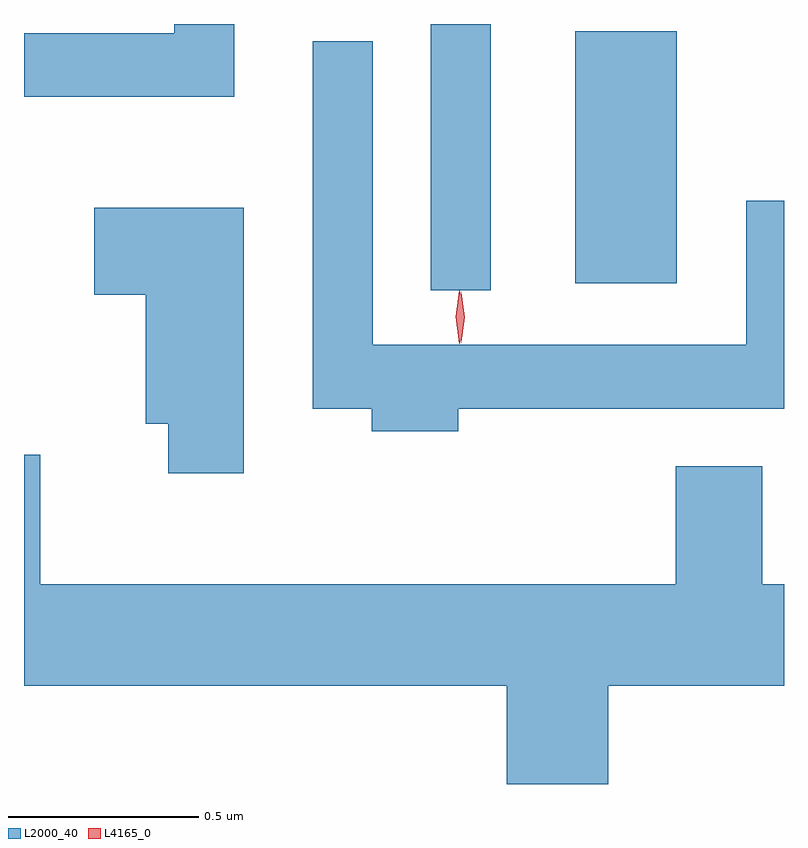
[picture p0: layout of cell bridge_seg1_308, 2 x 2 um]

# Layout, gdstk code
import gdstk
lib = gdstk.Library(unit=1e-6, precision=1e-09)
def R(c, l, rs):  # rectangles x0, y0, x1, y1
    for r in rs: c.add(gdstk.rectangle(r[:2], r[2:], *l))
def P(c, l, *ps):  # polygons
    for p in ps: c.add(gdstk.Polygon(p, *l))
L2000_40 = (2000, 40)
L4165_0 = (4165, 0)

bridge_seg1_308 = lib.new_cell('bridge_seg1_308')
R(bridge_seg1_308, L2000_40, [(874.216,887.298,874.374,887.998), (874.596,887.316,874.864,887.979)])
P(bridge_seg1_308, L2000_40, [(873.699,887.998),(873.541,887.998),(873.541,887.974),(873.146,887.974),(873.146,887.806),(873.699,887.806)],
  [(874.289,886.986),(875.146,886.986),(875.146,887.533),(875.046,887.533),(875.046,887.154),(874.064,887.154),(874.064,887.953),(873.906,887.953),(873.906,886.986),(874.061,886.986),(874.061,886.926),(874.289,886.926)],
  [(873.724,887.514),(873.331,887.514),(873.331,887.286),(873.466,887.286),(873.466,886.946),(873.526,886.946),(873.526,886.816),(873.724,886.816)],
  [(874.684,886.256),(875.146,886.256),(875.146,886.524),(875.089,886.524),(875.089,886.834),(874.861,886.834),(874.861,886.524),(873.189,886.524),(873.189,886.864),(873.146,886.864),(873.146,886.256),(874.416,886.256),(874.416,885.998),(874.684,885.998)])
P(bridge_seg1_308, L4165_0, [(874.292,887.157),(874.292,887.157),(874.282,887.227),(874.292,887.296),(874.292,887.296),(874.293,887.296),(874.302,887.227),(874.293,887.157)],
  [(874.296,887.159),(874.296,887.16),(874.286,887.226),(874.296,887.292),(874.296,887.293),(874.296,887.292),(874.306,887.226),(874.296,887.16)])

lib.write_gds('bridge_seg1_308.gds')
